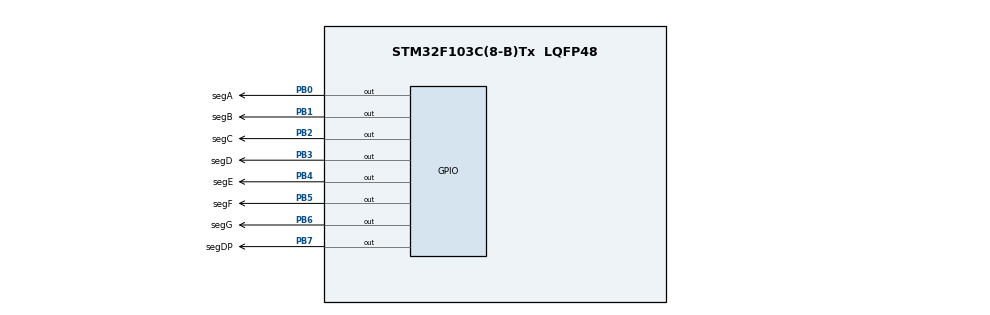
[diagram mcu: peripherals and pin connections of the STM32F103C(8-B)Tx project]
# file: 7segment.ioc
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Mcu.Family=STM32F1
Mcu.Name=STM32F103C(8-B)Tx
Mcu.Package=LQFP48
NVIC.PriorityGroup=NVIC_PRIORITYGROUP_4
PB0.GPIO_Label=segA
PB0.GPIO_PuPd=GPIO_PULLDOWN
PB0.Signal=GPIO_Output
PB1.GPIO_Label=segB
PB1.GPIO_PuPd=GPIO_PULLDOWN
PB1.Signal=GPIO_Output
PB2.GPIO_Label=segC
PB2.GPIO_PuPd=GPIO_PULLDOWN
PB2.Signal=GPIO_Output
PB3.GPIO_Label=segD
PB3.GPIO_PuPd=GPIO_PULLDOWN
PB3.Signal=GPIO_Output
PB4.GPIO_Label=segE
PB4.GPIO_PuPd=GPIO_PULLDOWN
PB4.Signal=GPIO_Output
PB5.GPIO_Label=segF
PB5.GPIO_PuPd=GPIO_PULLDOWN
PB5.Signal=GPIO_Output
PB6.GPIO_Label=segG
PB6.GPIO_PuPd=GPIO_PULLDOWN
PB6.Signal=GPIO_Output
PB7.GPIO_Label=segDP
PB7.GPIO_PuPd=GPIO_PULLDOWN
PB7.Signal=GPIO_Output
ProjectManager.HeapSize=0x200
ProjectManager.StackSize=0x400
ProjectManager.TargetToolchain=STM32CubeIDE
RCC.APB1Freq_Value=8000000
RCC.APB2Freq_Value=8000000
board=custom

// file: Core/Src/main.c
/* USER CODE BEGIN Header */
/**
  ******************************************************************************
  * @file           : main.c
  * @brief          : Main program body
  ******************************************************************************
  * @attention
  *
  * Copyright (c) 2022 STMicroelectronics.
  * All rights reserved.
  *
  * This software is licensed under terms that can be found in the LICENSE file
  * in the root directory of this software component.
  * If no LICENSE file comes with this software, it is provided AS-IS.
  *
  ******************************************************************************
  */
/* USER CODE END Header */
#include "main.h"

void SystemClock_Config(void);
static void MX_GPIO_Init(void);

int main(void)
{

  /* MCU Configuration--------------------------------------------------------*/

  /* Reset of all peripherals, Initializes the Flash interface and the Systick. */
  HAL_Init();

  /* Configure the system clock */
  SystemClock_Config();

  /* Initialize all configured peripherals */
  MX_GPIO_Init();
  /* USER CODE BEGIN 2 */

	//dp GFEDCBA
char seg[11] = { 0b00111111, // 0
				 0b00000110, // 1
				 0b01011011, // 2
				 0b01001111, // 3
				 0b01100110, // 4
				 0b01101101, // 5
				 0b01111101, // 6
				 0b00100111, // 7
				 0b01111111, // 8
				 0b01101111, // 9
				 0b10000000 // .
				};

void segment(int num){

	HAL_GPIO_WritePin(GPIOB, segA_Pin, (segA_Pin&seg[num]) ? GPIO_PIN_SET : GPIO_PIN_RESET);
	HAL_GPIO_WritePin(GPIOB, segB_Pin, (segB_Pin&seg[num]) ? GPIO_PIN_SET : GPIO_PIN_RESET);
	HAL_GPIO_WritePin(GPIOB, segC_Pin, (segC_Pin&seg[num]) ? GPIO_PIN_SET : GPIO_PIN_RESET);
	HAL_GPIO_WritePin(GPIOB, segD_Pin, (segD_Pin&seg[num]) ? GPIO_PIN_SET : GPIO_PIN_RESET);
	HAL_GPIO_WritePin(GPIOB, segE_Pin, (segE_Pin&seg[num]) ? GPIO_PIN_SET : GPIO_PIN_RESET);
	HAL_GPIO_WritePin(GPIOB, segF_Pin, (segF_Pin&seg[num]) ? GPIO_PIN_SET : GPIO_PIN_RESET);
	HAL_GPIO_WritePin(GPIOB, segG_Pin, (segG_Pin&seg[num]) ? GPIO_PIN_SET : GPIO_PIN_RESET);
	HAL_GPIO_WritePin(GPIOB, segDP_Pin, (segDP_Pin&seg[num]) ? GPIO_PIN_SET : GPIO_PIN_RESET);
}

void segment_bit(int num){
	GPIOB->ODR &= 0x100;
	GPIOB->ODR |= seg[num];
}
  /* USER CODE END 2 */

  /* Infinite loop */
  /* USER CODE BEGIN WHILE */
  int num=0;
  while (1)
  {
//	  segment(num);
	  segment_bit(num);
	  HAL_Delay(1000);
	  num = (num+1)%11;
    /* USER CODE END WHILE */

  }
}

void SystemClock_Config(void)
{
  RCC_OscInitTypeDef RCC_OscInitStruct = {0};
  RCC_ClkInitTypeDef RCC_ClkInitStruct = {0};

  /** Initializes the RCC Oscillators according to the specified parameters
  * in the RCC_OscInitTypeDef structure.
  */
  RCC_OscInitStruct.OscillatorType = RCC_OSCILLATORTYPE_HSI;
  RCC_OscInitStruct.HSIState = RCC_HSI_ON;
  RCC_OscInitStruct.HSICalibrationValue = RCC_HSICALIBRATION_DEFAULT;
  RCC_OscInitStruct.PLL.PLLState = RCC_PLL_NONE;
  if (HAL_RCC_OscConfig(&RCC_OscInitStruct) != HAL_OK)
  {
    Error_Handler();
  }

  /** Initializes the CPU, AHB and APB buses clocks
  */
  RCC_ClkInitStruct.ClockType = RCC_CLOCKTYPE_HCLK|RCC_CLOCKTYPE_SYSCLK
                              |RCC_CLOCKTYPE_PCLK1|RCC_CLOCKTYPE_PCLK2;
  RCC_ClkInitStruct.SYSCLKSource = RCC_SYSCLKSOURCE_HSI;
  RCC_ClkInitStruct.AHBCLKDivider = RCC_SYSCLK_DIV1;
  RCC_ClkInitStruct.APB1CLKDivider = RCC_HCLK_DIV1;
  RCC_ClkInitStruct.APB2CLKDivider = RCC_HCLK_DIV1;

  if (HAL_RCC_ClockConfig(&RCC_ClkInitStruct, FLASH_LATENCY_0) != HAL_OK)
  {
    Error_Handler();
  }
}

static void MX_GPIO_Init(void)
{
  GPIO_InitTypeDef GPIO_InitStruct = {0};

  /* GPIO Ports Clock Enable */
  __HAL_RCC_GPIOB_CLK_ENABLE();

  /*Configure GPIO pin Output Level */
  HAL_GPIO_WritePin(GPIOB, segA_Pin|segB_Pin|segC_Pin|segD_Pin
                          |segE_Pin|segF_Pin|segG_Pin|segDP_Pin, GPIO_PIN_RESET);

  /*Configure GPIO pins : segA_Pin segB_Pin segC_Pin segD_Pin
                           segE_Pin segF_Pin segG_Pin segDP_Pin */
  GPIO_InitStruct.Pin = segA_Pin|segB_Pin|segC_Pin|segD_Pin
                          |segE_Pin|segF_Pin|segG_Pin|segDP_Pin;
  GPIO_InitStruct.Mode = GPIO_MODE_OUTPUT_PP;
  GPIO_InitStruct.Pull = GPIO_PULLDOWN;
  GPIO_InitStruct.Speed = GPIO_SPEED_FREQ_LOW;
  HAL_GPIO_Init(GPIOB, &GPIO_InitStruct);

}

void Error_Handler(void)
{
  __disable_irq();
  while (1)
  {
  }
}
